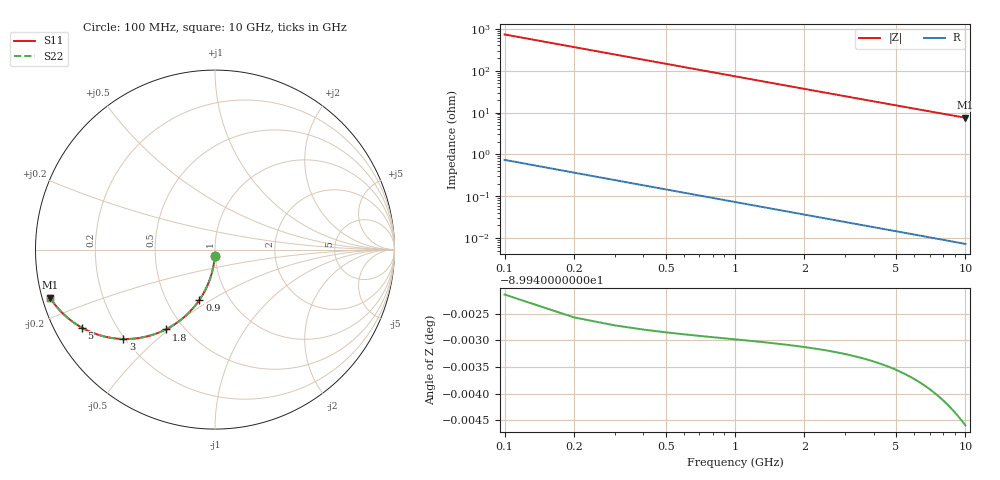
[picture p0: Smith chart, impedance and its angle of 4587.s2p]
# Hz S RI R 50.00
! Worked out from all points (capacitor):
!   100 points, 100 MHz to 10 GHz, reference 50 ohm
!   read as one part in shunt: C = 2.18 pF near 100 MHz
!   lowest |Z| = 7.51 ohm at 10 GHz (marker M1)
!   S11 on the Smith chart (normalised r, x): 100 MHz: 1.00, -0.07; 900 MHz: 0.73, -0.45; 1.8 GHz: 0.40, -0.49; 3 GHz: 0.19, -0.39; 5 GHz: 0.08, -0.27; 10 GHz: 0.02, -0.14
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1e8  -0.00119 -0.0341  0.9988 -0.0342  0.9988 -0.0342  -0.00119 -0.0341
2e8  -0.00471 -0.068  0.9953 -0.0681  0.9953 -0.0681  -0.00471 -0.068
3e8  -0.0105 -0.1014  0.9895 -0.1016  0.9895 -0.1016  -0.0105 -0.1014
4e8  -0.0185 -0.134  0.9815 -0.1344  0.9815 -0.1344  -0.0185 -0.134
5e8  -0.0285 -0.1658  0.9715 -0.1662  0.9715 -0.1662  -0.0285 -0.1658
6e8  -0.0405 -0.1964  0.9595 -0.197  0.9595 -0.197  -0.0405 -0.1964
7e8  -0.0543 -0.2258  0.9457 -0.2264  0.9457 -0.2264  -0.0543 -0.2258
9e8  -0.0866 -0.2803  0.9134 -0.2811  0.9134 -0.2811  -0.0866 -0.2803
1.1e9  -0.1239 -0.3285  0.8761 -0.3294  0.8761 -0.3294  -0.1239 -0.3285
1.3e9  -0.1647 -0.3699  0.8353 -0.371  0.8353 -0.371  -0.1647 -0.3699
1.5e9  -0.2078 -0.4046  0.7922 -0.4059  0.7922 -0.4059  -0.2078 -0.4046
1.8e9  -0.2738 -0.4446  0.7262 -0.4462  0.7262 -0.4462  -0.2738 -0.4446
2.4e9  -0.4005 -0.4885  0.5995 -0.4905  0.5995 -0.4905  -0.4005 -0.4885
3e9  -0.51 -0.4981  0.49 -0.5007  0.49 -0.5007  -0.51 -0.4981
3.4e9  -0.5716 -0.4929  0.4284 -0.4958  0.4284 -0.4958  -0.5716 -0.4929
4.2e9  -0.6699 -0.4679  0.33 -0.4716  0.33 -0.4716  -0.6699 -0.4679
5e9  -0.7415 -0.4351  0.2584 -0.4395  0.2584 -0.4395  -0.7415 -0.4351
5.1e9  -0.749 -0.4308  0.251 -0.4353  0.251 -0.4353  -0.749 -0.4308
5.9e9  -0.7994 -0.3973  0.2006 -0.4026  0.2006 -0.4026  -0.7994 -0.3973
6.7e9  -0.8369 -0.366  0.1631 -0.372  0.1631 -0.372  -0.8369 -0.366
8.4e9  -0.8894 -0.3093  0.1105 -0.3168  0.1105 -0.3168  -0.8894 -0.3093
1e10  -0.9193 -0.2673  0.0806 -0.2763  0.0806 -0.2763  -0.9193 -0.2673
